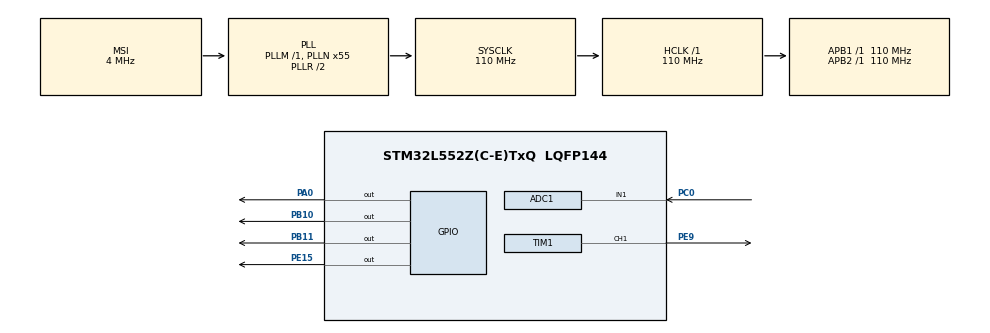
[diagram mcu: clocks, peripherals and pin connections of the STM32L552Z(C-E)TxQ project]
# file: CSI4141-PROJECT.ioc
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ADC1.Channel-0\#ChannelRegularConversion=ADC_CHANNEL_1
ADC1.NbrOfConversionFlag=1
ADC1.OffsetNumber-0\#ChannelRegularConversion=ADC_OFFSET_NONE
ADC1.Rank-0\#ChannelRegularConversion=1
ADC1.SamplingTime-0\#ChannelRegularConversion=ADC_SAMPLETIME_2CYCLES_5
ADC1.master=1
FREERTOS.Tasks01=defaultTask,24,128,StartDefaultTask,Default,NULL,Dynamic,NULL,NULL;MotorTask,32,128,MotorTask1,Default,NULL,Dynamic,NULL,NULL;UI_Task,24,128,MyUI_Task,Default,NULL,Dynamic,NULL,NULL
Mcu.Family=STM32L5
Mcu.Name=STM32L552Z(C-E)TxQ
Mcu.Package=LQFP144
Mcu.TrustZone=disable
NUCLEO-L552ZE-Q.BUTTON=2
NUCLEO-L552ZE-Q.Bsp_Common_DEMO=true
NUCLEO-L552ZE-Q.LD1=true
NUCLEO-L552ZE-Q.LD2=true
NUCLEO-L552ZE-Q.LD3=true
NUCLEO-L552ZE-Q.VCP=false
NVIC.PriorityGroup=NVIC_PRIORITYGROUP_3
PA0.Signal=GPIO_Output
PA9.TagName=LD3
PB10.Signal=GPIO_Output
PB11.Signal=GPIO_Output
PB7.TagName=LD2
PC0.Signal=ADCx_IN1
PC7.TagName=LD1
PE15.Signal=GPIO_Output
PE9.Signal=S_TIM1_CH1
ProjectManager.HeapSize=0x200
ProjectManager.StackSize=0x400
ProjectManager.TargetToolchain=STM32CubeIDE
RCC.ADCCLockSelection=RCC_ADCCLKSOURCE_SYSCLK
RCC.ADCFreq_Value=110000000
RCC.AHBFreq_Value=110000000
RCC.APB1Freq_Value=110000000
RCC.APB1TimFreq_Value=110000000
RCC.APB2Freq_Value=110000000
RCC.APB2TimFreq_Value=110000000
RCC.CK48CLockSelection=RCC_USBCLKSOURCE_HSI48
RCC.CortexFreq_Value=110000000
RCC.HCLKFreq_Value=110000000
RCC.HSE_VALUE=8000000
RCC.HSI48_VALUE=48000000
RCC.HSI_VALUE=16000000
RCC.LSE_VALUE=32768
RCC.MSI_VALUE=4000000
RCC.PLLN=55
RCC.PLLSAI1N=24
RCC.RTCClockSelection=RCC_RTCCLKSOURCE_LSE
RCC.SYSCLKFreq_VALUE=110000000
RCC.SYSCLKSource=RCC_SYSCLKSOURCE_PLLCLK
RCC.USBFreq_Value=48000000
RCC.VCOOutputFreq_Value=220000000
SH.ADCx_IN1.0=ADC1_IN1,IN1-Single-Ended
SH.S_TIM1_CH1.0=TIM1_CH1,PWM Generation1 CH1
TIM1.Channel-PWM\ Generation1\ CH1=TIM_CHANNEL_1
VP_FREERTOS_VS_CMSIS_V2.Mode=CMSIS_V2
VP_NUCLEO-L552ZE-Q_VS_BSP_COMMON.Mode=COMMON
VP_PWR_VS_DBSignals.Mode=DisableDeadBatterySignals
VP_PWR_VS_SECSignals.Mode=Security/Privilege
board=NUCLEO-L552ZE-Q

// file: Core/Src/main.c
/* USER CODE BEGIN Header */
/**
  ******************************************************************************
  * @file           : main.c
  * @brief          : Main program body
  ******************************************************************************
  * @attention
  *
  * Copyright (c) 2026 STMicroelectronics.
  * All rights reserved.
  *
  * This software is licensed under terms that can be found in the LICENSE file
  * in the root directory of this software component.
  * If no LICENSE file comes with this software, it is provided AS-IS.
  *
  ******************************************************************************
  */
/* USER CODE END Header */
#include "main.h"
#include "cmsis_os.h"

__IO uint32_t BspButtonState = BUTTON_RELEASED;
ADC_HandleTypeDef hadc1;

TIM_HandleTypeDef htim1;

/* Definitions for defaultTask */
osThreadId_t defaultTaskHandle;
const osThreadAttr_t defaultTask_attributes = {
  .name = "defaultTask",
  .priority = (osPriority_t) osPriorityLow,
  .stack_size = 128 * 4
};
/* Definitions for MotorTask */
osThreadId_t MotorTaskHandle;
const osThreadAttr_t MotorTask_attributes = {
  .name = "MotorTask",
  .priority = (osPriority_t) osPriorityAboveNormal,
  .stack_size = 128 * 4
};
/* Definitions for UI_Task */
osThreadId_t UI_TaskHandle;
const osThreadAttr_t UI_Task_attributes = {
  .name = "UI_Task",
  .priority = (osPriority_t) osPriorityNormal,
  .stack_size = 128 * 4
};
/* USER CODE BEGIN PV */
//shared variables
typedef enum { STOP = 0 , CW = 1 , CCW = 2} MotorState_t;
volatile MotorState_t Global_MotorState = STOP;

//PWM
volatile uint32_t Global_PWM_DutyCycle = 0;

/* USER CODE END PV */

void SystemClock_Config(void);
static void MX_GPIO_Init(void);
static void MX_TIM1_Init(void);
static void MX_ADC1_Init(void);
void StartDefaultTask(void *argument);
void MotorTask1(void *argument);
void MyUI_Task(void *argument);

int main(void)
{

  /* MCU Configuration--------------------------------------------------------*/

  /* Reset of all peripherals, Initializes the Flash interface and the Systick. */
  HAL_Init();

  /* Configure the system clock */
  SystemClock_Config();

  /* Initialize all configured peripherals */
  MX_GPIO_Init();
  MX_TIM1_Init();
  MX_ADC1_Init();

  /* Init scheduler */
  osKernelInitialize();

  /* Create the thread(s) */
  /* creation of defaultTask */
  defaultTaskHandle = osThreadNew(StartDefaultTask, NULL, &defaultTask_attributes);

  /* creation of MotorTask */
  MotorTaskHandle = osThreadNew(MotorTask1, NULL, &MotorTask_attributes);

  /* creation of UI_Task */
  UI_TaskHandle = osThreadNew(MyUI_Task, NULL, &UI_Task_attributes);

  /* Initialize leds */
  BSP_LED_Init(LED_GREEN);
  BSP_LED_Init(LED_BLUE);
  BSP_LED_Init(LED_RED);

  /* Initialize User push-button without interrupt mode. */
  BSP_PB_Init(BUTTON_USER, BUTTON_MODE_GPIO);

  /* USER CODE BEGIN BSP */

  /* -- Sample board code to send message over COM1 port ---- */
  printf("Welcome to STM32 world !\n\r");

  /* -- Sample board code to switch on leds ---- */
  BSP_LED_On(LED_GREEN);
  BSP_LED_On(LED_BLUE);
  BSP_LED_On(LED_RED);

  /* USER CODE END BSP */

  /* Start scheduler */
  osKernelStart();

  /* We should never get here as control is now taken by the scheduler */

  /* Infinite loop */
  /* USER CODE BEGIN WHILE */
  while (1)
  {

    /* -- Sample board code for User push-button in interrupt mode ---- */
    if (BspButtonState == BUTTON_PRESSED)
    {
      /* Update button state */
      BspButtonState = BUTTON_RELEASED;
      /* -- Sample board code to toggle leds ---- */
      BSP_LED_Toggle(LED_GREEN);
      BSP_LED_Toggle(LED_BLUE);
      BSP_LED_Toggle(LED_RED);

      /* ..... Perform your action ..... */
    }
    /* USER CODE END WHILE */

  }
}

void SystemClock_Config(void)
{
  RCC_OscInitTypeDef RCC_OscInitStruct = {0};
  RCC_ClkInitTypeDef RCC_ClkInitStruct = {0};

  /** Configure the main internal regulator output voltage
  */
  if (HAL_PWREx_ControlVoltageScaling(PWR_REGULATOR_VOLTAGE_SCALE0) != HAL_OK)
  {
    Error_Handler();
  }

  /** Initializes the RCC Oscillators according to the specified parameters
  * in the RCC_OscInitTypeDef structure.
  */
  RCC_OscInitStruct.OscillatorType = RCC_OSCILLATORTYPE_MSI;
  RCC_OscInitStruct.MSIState = RCC_MSI_ON;
  RCC_OscInitStruct.MSICalibrationValue = RCC_MSICALIBRATION_DEFAULT;
  RCC_OscInitStruct.MSIClockRange = RCC_MSIRANGE_6;
  RCC_OscInitStruct.PLL.PLLState = RCC_PLL_ON;
  RCC_OscInitStruct.PLL.PLLSource = RCC_PLLSOURCE_MSI;
  RCC_OscInitStruct.PLL.PLLM = 1;
  RCC_OscInitStruct.PLL.PLLN = 55;
  RCC_OscInitStruct.PLL.PLLP = RCC_PLLP_DIV7;
  RCC_OscInitStruct.PLL.PLLQ = RCC_PLLQ_DIV2;
  RCC_OscInitStruct.PLL.PLLR = RCC_PLLR_DIV2;
  if (HAL_RCC_OscConfig(&RCC_OscInitStruct) != HAL_OK)
  {
    Error_Handler();
  }

  /** Initializes the CPU, AHB and APB buses clocks
  */
  RCC_ClkInitStruct.ClockType = RCC_CLOCKTYPE_HCLK|RCC_CLOCKTYPE_SYSCLK
                              |RCC_CLOCKTYPE_PCLK1|RCC_CLOCKTYPE_PCLK2;
  RCC_ClkInitStruct.SYSCLKSource = RCC_SYSCLKSOURCE_PLLCLK;
  RCC_ClkInitStruct.AHBCLKDivider = RCC_SYSCLK_DIV1;
  RCC_ClkInitStruct.APB1CLKDivider = RCC_HCLK_DIV1;
  RCC_ClkInitStruct.APB2CLKDivider = RCC_HCLK_DIV1;

  if (HAL_RCC_ClockConfig(&RCC_ClkInitStruct, FLASH_LATENCY_5) != HAL_OK)
  {
    Error_Handler();
  }
}

static void MX_ADC1_Init(void)
{

  ADC_MultiModeTypeDef multimode = {0};
  ADC_ChannelConfTypeDef sConfig = {0};

  /** Common config
  */
  hadc1.Instance = ADC1;
  hadc1.Init.ClockPrescaler = ADC_CLOCK_ASYNC_DIV1;
  hadc1.Init.Resolution = ADC_RESOLUTION_12B;
  hadc1.Init.DataAlign = ADC_DATAALIGN_RIGHT;
  hadc1.Init.ScanConvMode = ADC_SCAN_DISABLE;
  hadc1.Init.EOCSelection = ADC_EOC_SINGLE_CONV;
  hadc1.Init.LowPowerAutoWait = DISABLE;
  hadc1.Init.ContinuousConvMode = DISABLE;
  hadc1.Init.NbrOfConversion = 1;
  hadc1.Init.DiscontinuousConvMode = DISABLE;
  hadc1.Init.ExternalTrigConv = ADC_SOFTWARE_START;
  hadc1.Init.ExternalTrigConvEdge = ADC_EXTERNALTRIGCONVEDGE_NONE;
  hadc1.Init.DMAContinuousRequests = DISABLE;
  hadc1.Init.Overrun = ADC_OVR_DATA_PRESERVED;
  hadc1.Init.OversamplingMode = DISABLE;
  if (HAL_ADC_Init(&hadc1) != HAL_OK)
  {
    Error_Handler();
  }

  /** Configure the ADC multi-mode
  */
  multimode.Mode = ADC_MODE_INDEPENDENT;
  if (HAL_ADCEx_MultiModeConfigChannel(&hadc1, &multimode) != HAL_OK)
  {
    Error_Handler();
  }

  /** Configure Regular Channel
  */
  sConfig.Channel = ADC_CHANNEL_1;
  sConfig.Rank = ADC_REGULAR_RANK_1;
  sConfig.SamplingTime = ADC_SAMPLETIME_2CYCLES_5;
  sConfig.SingleDiff = ADC_SINGLE_ENDED;
  sConfig.OffsetNumber = ADC_OFFSET_NONE;
  sConfig.Offset = 0;
  if (HAL_ADC_ConfigChannel(&hadc1, &sConfig) != HAL_OK)
  {
    Error_Handler();
  }

}

static void MX_TIM1_Init(void)
{

  TIM_MasterConfigTypeDef sMasterConfig = {0};
  TIM_OC_InitTypeDef sConfigOC = {0};
  TIM_BreakDeadTimeConfigTypeDef sBreakDeadTimeConfig = {0};

  htim1.Instance = TIM1;
  htim1.Init.Prescaler = 0;
  htim1.Init.CounterMode = TIM_COUNTERMODE_UP;
  htim1.Init.Period = 65535;
  htim1.Init.ClockDivision = TIM_CLOCKDIVISION_DIV1;
  htim1.Init.RepetitionCounter = 0;
  htim1.Init.AutoReloadPreload = TIM_AUTORELOAD_PRELOAD_DISABLE;
  if (HAL_TIM_PWM_Init(&htim1) != HAL_OK)
  {
    Error_Handler();
  }
  sMasterConfig.MasterOutputTrigger = TIM_TRGO_RESET;
  sMasterConfig.MasterOutputTrigger2 = TIM_TRGO2_RESET;
  sMasterConfig.MasterSlaveMode = TIM_MASTERSLAVEMODE_DISABLE;
  if (HAL_TIMEx_MasterConfigSynchronization(&htim1, &sMasterConfig) != HAL_OK)
  {
    Error_Handler();
  }
  sConfigOC.OCMode = TIM_OCMODE_PWM1;
  sConfigOC.Pulse = 0;
  sConfigOC.OCPolarity = TIM_OCPOLARITY_HIGH;
  sConfigOC.OCNPolarity = TIM_OCNPOLARITY_HIGH;
  sConfigOC.OCFastMode = TIM_OCFAST_DISABLE;
  sConfigOC.OCIdleState = TIM_OCIDLESTATE_RESET;
  sConfigOC.OCNIdleState = TIM_OCNIDLESTATE_RESET;
  if (HAL_TIM_PWM_ConfigChannel(&htim1, &sConfigOC, TIM_CHANNEL_1) != HAL_OK)
  {
    Error_Handler();
  }
  sBreakDeadTimeConfig.OffStateRunMode = TIM_OSSR_DISABLE;
  sBreakDeadTimeConfig.OffStateIDLEMode = TIM_OSSI_DISABLE;
  sBreakDeadTimeConfig.LockLevel = TIM_LOCKLEVEL_OFF;
  sBreakDeadTimeConfig.DeadTime = 0;
  sBreakDeadTimeConfig.BreakState = TIM_BREAK_DISABLE;
  sBreakDeadTimeConfig.BreakPolarity = TIM_BREAKPOLARITY_HIGH;
  sBreakDeadTimeConfig.BreakFilter = 0;
  sBreakDeadTimeConfig.BreakAFMode = TIM_BREAK_AFMODE_INPUT;
  sBreakDeadTimeConfig.Break2State = TIM_BREAK2_DISABLE;
  sBreakDeadTimeConfig.Break2Polarity = TIM_BREAK2POLARITY_HIGH;
  sBreakDeadTimeConfig.Break2Filter = 0;
  sBreakDeadTimeConfig.Break2AFMode = TIM_BREAK_AFMODE_INPUT;
  sBreakDeadTimeConfig.AutomaticOutput = TIM_AUTOMATICOUTPUT_DISABLE;
  if (HAL_TIMEx_ConfigBreakDeadTime(&htim1, &sBreakDeadTimeConfig) != HAL_OK)
  {
    Error_Handler();
  }
  HAL_TIM_MspPostInit(&htim1);

}

static void MX_GPIO_Init(void)
{
  GPIO_InitTypeDef GPIO_InitStruct = {0};

  /* GPIO Ports Clock Enable */
  __HAL_RCC_GPIOC_CLK_ENABLE();
  __HAL_RCC_GPIOA_CLK_ENABLE();
  __HAL_RCC_GPIOE_CLK_ENABLE();
  __HAL_RCC_GPIOB_CLK_ENABLE();

  /*Configure GPIO pin Output Level */
  HAL_GPIO_WritePin(GPIOA, GPIO_PIN_0, GPIO_PIN_RESET);

  /*Configure GPIO pin Output Level */
  HAL_GPIO_WritePin(GPIOE, GPIO_PIN_15, GPIO_PIN_RESET);

  /*Configure GPIO pin Output Level */
  HAL_GPIO_WritePin(GPIOB, GPIO_PIN_10|GPIO_PIN_11, GPIO_PIN_RESET);

  /*Configure GPIO pin : PA0 */
  GPIO_InitStruct.Pin = GPIO_PIN_0;
  GPIO_InitStruct.Mode = GPIO_MODE_OUTPUT_PP;
  GPIO_InitStruct.Pull = GPIO_NOPULL;
  GPIO_InitStruct.Speed = GPIO_SPEED_FREQ_LOW;
  HAL_GPIO_Init(GPIOA, &GPIO_InitStruct);

  /*Configure GPIO pin : PE15 */
  GPIO_InitStruct.Pin = GPIO_PIN_15;
  GPIO_InitStruct.Mode = GPIO_MODE_OUTPUT_PP;
  GPIO_InitStruct.Pull = GPIO_NOPULL;
  GPIO_InitStruct.Speed = GPIO_SPEED_FREQ_LOW;
  HAL_GPIO_Init(GPIOE, &GPIO_InitStruct);

  /*Configure GPIO pins : PB10 PB11 */
  GPIO_InitStruct.Pin = GPIO_PIN_10|GPIO_PIN_11;
  GPIO_InitStruct.Mode = GPIO_MODE_OUTPUT_PP;
  GPIO_InitStruct.Pull = GPIO_NOPULL;
  GPIO_InitStruct.Speed = GPIO_SPEED_FREQ_LOW;
  HAL_GPIO_Init(GPIOB, &GPIO_InitStruct);

}

void StartDefaultTask(void *argument)
{
  for(;;)
  {
    osDelay(1);
  }
}

void MotorTask1(void *argument)
{
  /* USER CODE BEGIN MotorTask1 */
  /* Infinite loop */
  HAL_TIM_PWM_Start(&htim1, TIM_CHANNEL_1);

  for(;;)
  {
    MotorState_t state = Global_MotorState;
    uint32_t speed = (state == STOP) ? 0 : Global_PWM_DutyCycle;

    __HAL_TIM_SET_COMPARE(&htim1, TIM_CHANNEL_1, speed);

    if (state == STOP) {
        // Standby Motor off
        HAL_GPIO_WritePin(GPIOE, GPIO_PIN_15, GPIO_PIN_RESET);

        HAL_GPIO_WritePin(GPIOB, GPIO_PIN_10|GPIO_PIN_11, GPIO_PIN_RESET);
    }
    else {
        // Standby Disable motor on
        HAL_GPIO_WritePin(GPIOE, GPIO_PIN_15, GPIO_PIN_SET);

        if (state == CW) {
            //AI1 High ,AI2 Low == CW
        	HAL_GPIO_WritePin(GPIOB, GPIO_PIN_10, GPIO_PIN_RESET);
        	HAL_GPIO_WritePin(GPIOB, GPIO_PIN_11, GPIO_PIN_SET);
        } else { // CCW
            // AI1 Low, AI2 High
            HAL_GPIO_WritePin(GPIOB, GPIO_PIN_10, GPIO_PIN_SET);
            HAL_GPIO_WritePin(GPIOB, GPIO_PIN_11, GPIO_PIN_RESET);
        }
    }
    BSP_LED_Off(LED_RED); BSP_LED_Off(LED_GREEN); BSP_LED_Off(LED_BLUE);

    if (state == STOP) BSP_LED_On(LED_RED);
    else if (state == CW) BSP_LED_On(LED_GREEN);
    else BSP_LED_On(LED_BLUE);

    osDelay(20);

  }

  /* USER CODE END MotorTask1 */
}

void MyUI_Task(void *argument)
{
  /* USER CODE BEGIN MyUI_Task */
  /* Infinite loop */
  static uint32_t lastState = GPIO_PIN_RESET;
  uint32_t currentState;
  int buzzerTimer = 0;

  /* Infinite loop */
  for(;;)
  {
    // READING Potentiometer
    HAL_ADC_Start(&hadc1);
    if (HAL_ADC_PollForConversion(&hadc1, 10) == HAL_OK) {
        uint32_t rawADC = HAL_ADC_GetValue(&hadc1);

        Global_PWM_DutyCycle = rawADC * 16;
    }

    //button state selection
    currentState = HAL_GPIO_ReadPin(GPIOC, GPIO_PIN_13);

    if (currentState == GPIO_PIN_SET && lastState == GPIO_PIN_RESET) {
        // Change State: STOP -> CW -> CCW -> STOP
        if (Global_MotorState == STOP) Global_MotorState = CW;
        else if (Global_MotorState == CW) Global_MotorState = CCW;
        else Global_MotorState = STOP;

        // Start Buzzer Beep
        buzzerTimer = 2;
    }
    lastState = currentState;

    //buzzer on button
    if (buzzerTimer > 0) {
        HAL_GPIO_WritePin(GPIOA, GPIO_PIN_0, GPIO_PIN_SET); // Beep ON
        buzzerTimer--;
    } else {
        HAL_GPIO_WritePin(GPIOA, GPIO_PIN_0, GPIO_PIN_RESET); // Beep OFF
    }

    // --- TASK PERIOD ---
    // Run every 50ms (Lower Priority, sufficient for UI)
    osDelay(50);
  }
  /* USER CODE END MyUI_Task */
}

void Error_Handler(void)
{
  __disable_irq();
  while (1)
  {
  }
}
